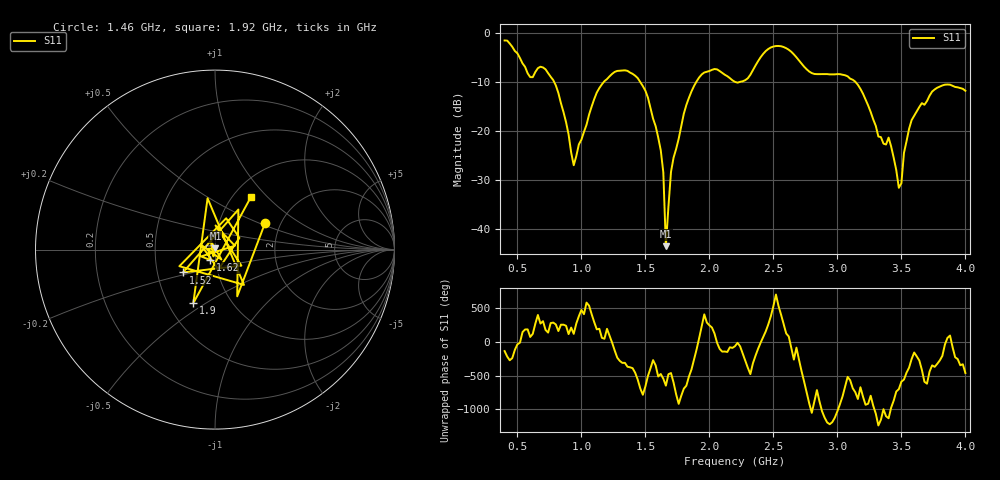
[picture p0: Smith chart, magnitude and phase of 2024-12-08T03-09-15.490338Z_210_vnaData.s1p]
!Created with skrf (http://scikit-rf.org).
# Hz S RI R 50.0
!freq ReS11 ImS11
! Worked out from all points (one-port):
!   181 points, 400 MHz to 4 GHz, reference 50 ohm
!   lowest |S11| = -43.4 dB at 1.66 GHz (marker M1), VSWR 1.01, Z = 50.2 + j0.638 ohm
!   |S11| at or under -10 dB: 787.9 MHz to 1.174 GHz (385.9 MHz wide, 39.3 % of centre); 1.46 GHz to 1.897 GHz (436.7 MHz wide, 26 % of centre); 3.143 GHz to end of sweep (the widest 3 of 4)
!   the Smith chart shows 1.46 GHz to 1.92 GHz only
!   S11 on the Smith chart (normalised r, x): 1.46 GHz: 1.66, +0.55; 1.52 GHz: 0.68, -0.18; 1.62 GHz: 0.94, -0.11; 1.9 GHz: 0.67, -0.44; 1.92 GHz: 1.21, +0.80
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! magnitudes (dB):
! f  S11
! 400 MHz  -1.5
! 600 MHz  -9.0
! 720 MHz  -7.4
! 860 MHz  -16.1
! 940 MHz  -26.9
! 1.12 GHz  -12.1
! 1.3 GHz  -7.7
! 1.46 GHz  -10.0
! 1.52 GHz  -13.2
! 1.62 GHz  -23.9
! 1.64 GHz  -28.4
! 1.66 GHz  -43.4
! 1.7 GHz  -28.3
! 1.76 GHz  -21.5
! 1.9 GHz  -9.8
! 1.92 GHz  -9.0
! 2.2 GHz  -9.9
! 2.48 GHz  -2.9
! 2.66 GHz  -4.3
! 2.8 GHz  -8.2
! 3.1 GHz  -9.3
! 3.2 GHz  -12.4
! 3.32 GHz  -21.1
! 3.4 GHz  -21.3
! 3.48 GHz  -31.5
! 3.56 GHz  -19.5
! 3.76 GHz  -11.5
! 4 GHz  -11.8
